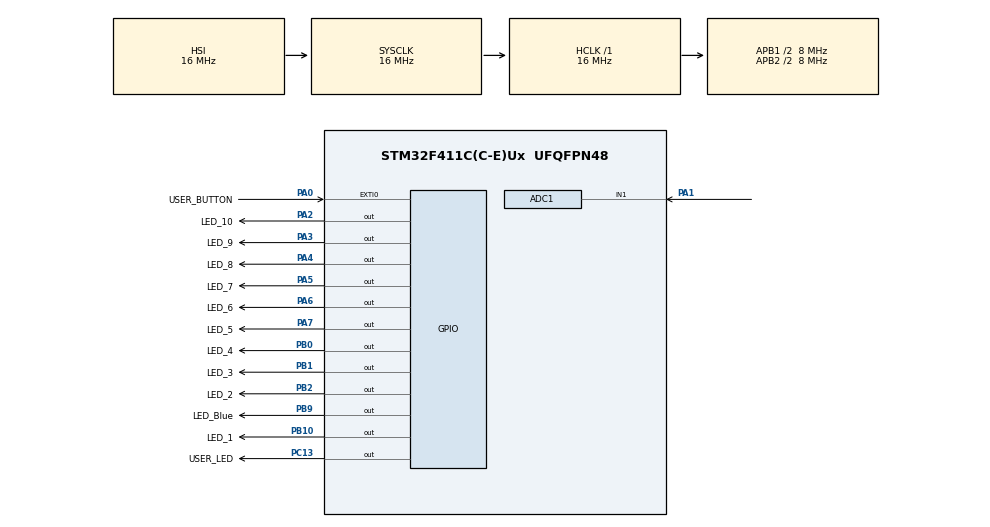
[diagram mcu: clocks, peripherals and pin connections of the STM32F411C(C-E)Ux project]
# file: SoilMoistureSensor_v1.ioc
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ADC1.Channel-1\#ChannelRegularConversion=ADC_CHANNEL_1
ADC1.ClockPrescaler=ADC_CLOCK_SYNC_PCLK_DIV8
ADC1.NbrOfConversion=1
ADC1.NbrOfConversionFlag=1
ADC1.Rank-1\#ChannelRegularConversion=1
ADC1.SamplingTime-1\#ChannelRegularConversion=ADC_SAMPLETIME_480CYCLES
ADC1.master=1
Mcu.Family=STM32F4
Mcu.Name=STM32F411C(C-E)Ux
Mcu.Package=UFQFPN48
NVIC.ADC_IRQn=true\:0\:0\:false\:true\:true\:2\:true\:true\:true
NVIC.EXTI0_IRQn=true\:0\:0\:false\:true\:true\:1\:true\:true\:true
NVIC.PriorityGroup=NVIC_PRIORITYGROUP_4
PA0-WKUP.GPIO_Label=USER_BUTTON
PA0-WKUP.Signal=GPXTI0
PA1.Signal=ADCx_IN1
PA2.GPIO_Label=LED_10
PA2.GPIO_PuPd=GPIO_PULLUP
PA2.PinState=GPIO_PIN_SET
PA2.Signal=GPIO_Output
PA3.GPIO_Label=LED_9
PA3.GPIO_PuPd=GPIO_PULLUP
PA3.PinState=GPIO_PIN_SET
PA3.Signal=GPIO_Output
PA4.GPIO_Label=LED_8
PA4.GPIO_PuPd=GPIO_PULLUP
PA4.PinState=GPIO_PIN_SET
PA4.Signal=GPIO_Output
PA5.GPIO_Label=LED_7
PA5.GPIO_PuPd=GPIO_PULLUP
PA5.PinState=GPIO_PIN_SET
PA5.Signal=GPIO_Output
PA6.GPIO_Label=LED_6
PA6.GPIO_PuPd=GPIO_PULLUP
PA6.PinState=GPIO_PIN_SET
PA6.Signal=GPIO_Output
PA7.GPIO_Label=LED_5
PA7.GPIO_PuPd=GPIO_PULLUP
PA7.PinState=GPIO_PIN_SET
PA7.Signal=GPIO_Output
PB0.GPIO_Label=LED_4
PB0.GPIO_PuPd=GPIO_PULLUP
PB0.PinState=GPIO_PIN_SET
PB0.Signal=GPIO_Output
PB1.GPIO_Label=LED_3
PB1.GPIO_PuPd=GPIO_PULLUP
PB1.PinState=GPIO_PIN_SET
PB1.Signal=GPIO_Output
PB10.GPIO_Label=LED_1
PB10.GPIO_PuPd=GPIO_PULLUP
PB10.PinState=GPIO_PIN_SET
PB10.Signal=GPIO_Output
PB2.GPIO_Label=LED_2
PB2.GPIO_PuPd=GPIO_PULLUP
PB2.PinState=GPIO_PIN_SET
PB2.Signal=GPIO_Output
PB9.GPIO_Label=LED_Blue
PB9.GPIO_PuPd=GPIO_PULLUP
PB9.Signal=GPIO_Output
PC13-ANTI_TAMP.GPIO_Label=USER_LED
PC13-ANTI_TAMP.Signal=GPIO_Output
ProjectManager.HeapSize=0x200
ProjectManager.StackSize=0x400
ProjectManager.TargetToolchain=STM32CubeIDE
RCC.48MHZClocksFreq_Value=40000000
RCC.AHBFreq_Value=16000000
RCC.APB1CLKDivider=RCC_HCLK_DIV2
RCC.APB1Freq_Value=8000000
RCC.APB1TimFreq_Value=16000000
RCC.APB2CLKDivider=RCC_HCLK_DIV2
RCC.APB2Freq_Value=8000000
RCC.APB2TimFreq_Value=16000000
RCC.CortexFreq_Value=16000000
RCC.HCLKFreq_Value=16000000
RCC.HSE_VALUE=25000000
RCC.HSI_VALUE=16000000
RCC.LSE_VALUE=32768
RCC.PLLM=8
RCC.PLLN=80
RCC.SYSCLKFreq_VALUE=16000000
RCC.VCOOutputFreq_Value=160000000
SH.ADCx_IN1.0=ADC1_IN1,IN1
board=custom

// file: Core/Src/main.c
/* USER CODE BEGIN Header */
/**
  ******************************************************************************
  * @file           : main.c
  * @brief          : Main program body
  ******************************************************************************
  * @attention
  *
  * Copyright (c) 2023 STMicroelectronics.
  * All rights reserved.
  *
  * This software is licensed under terms that can be found in the LICENSE file
  * in the root directory of this software component.
  * If no LICENSE file comes with this software, it is provided AS-IS.
  *
  ******************************************************************************
  */
/* USER CODE END Header */
#include "main.h"

ADC_HandleTypeDef hadc1;

/* USER CODE BEGIN PV */
uint16_t measured_adc_value;
const uint16_t air_adc_value = 3217;
const uint16_t water_adc_value = 1585;
uint8_t soil_moisture = 0;
uint16_t one_interval_width = 0;
uint8_t number_of_intervals = 11;
uint32_t printing_led_lvl_delay_ms = 100;
/* USER CODE END PV */

void SystemClock_Config(void);
static void MX_GPIO_Init(void);
static void MX_ADC1_Init(void);
static void MX_NVIC_Init(void);
/* USER CODE BEGIN PFP */
void LedInitAnimation(uint32_t delay);
/* USER CODE END PFP */

int main(void)
{

  /* MCU Configuration--------------------------------------------------------*/

  /* Reset of all peripherals, Initializes the Flash interface and the Systick. */
  HAL_Init();

  /* Configure the system clock */
  SystemClock_Config();

  /* Initialize all configured peripherals */
  MX_GPIO_Init();
  MX_ADC1_Init();

  /* Initialize interrupts */
  MX_NVIC_Init();
  /* USER CODE BEGIN 2 */
  uint16_t range_measurement = air_adc_value - water_adc_value;
  one_interval_width = range_measurement / number_of_intervals;

  /*	LED init animation */
  LedInitAnimation(100);
  /* USER CODE END 2 */

  /* Infinite loop */
  /* USER CODE BEGIN WHILE */
  while (1)
  {
	  /* ADC MEASUREMENT */
	  HAL_ADC_Start(&hadc1);

	  if(HAL_ADC_PollForConversion(&hadc1, 1000) == HAL_OK)
	  {
		  measured_adc_value = HAL_ADC_GetValue(&hadc1);
	  }

	  /* COUNTING SOIL MOISTURE */
	  for(uint8_t i = 1 ; i <= number_of_intervals ; i++)
	  {
			if(measured_adc_value  > (air_adc_value-(i*one_interval_width)))
			{
				soil_moisture = number_of_intervals-(number_of_intervals - i+1);
				break;
			}
	  }

	  /* CHECK SUPPLY VOLTAGE */
	  //TODO!

	  /* PRINT SOIL MOISTURE LVL */
	  if (soil_moisture >= 1)
	  {
		  HAL_GPIO_WritePin(LED_1_GPIO_Port, LED_1_Pin, GPIO_PIN_RESET);
		  HAL_Delay(printing_led_lvl_delay_ms);
	  }

	  if (soil_moisture >= 2)
	  {
		  HAL_GPIO_WritePin(LED_2_GPIO_Port, LED_2_Pin, GPIO_PIN_RESET);
		  HAL_Delay(printing_led_lvl_delay_ms);
	  }

	  if (soil_moisture >= 3)
	  {
		  HAL_GPIO_WritePin(LED_3_GPIO_Port, LED_3_Pin, GPIO_PIN_RESET);
		  HAL_Delay(printing_led_lvl_delay_ms);
	  }

	  if (soil_moisture >= 4)
	  {
		  HAL_GPIO_WritePin(LED_4_GPIO_Port, LED_4_Pin, GPIO_PIN_RESET);
		  HAL_Delay(printing_led_lvl_delay_ms);
	  }

	  if (soil_moisture >= 5)
	  {
		  HAL_GPIO_WritePin(LED_5_GPIO_Port, LED_5_Pin, GPIO_PIN_RESET);
		  HAL_Delay(printing_led_lvl_delay_ms);
	  }

	  if (soil_moisture >= 6)
	  {
		  HAL_GPIO_WritePin(LED_6_GPIO_Port, LED_6_Pin, GPIO_PIN_RESET);
		  HAL_Delay(printing_led_lvl_delay_ms);
	  }

	  if (soil_moisture >= 7)
	  {
		  HAL_GPIO_WritePin(LED_7_GPIO_Port, LED_7_Pin, GPIO_PIN_RESET);
		  HAL_Delay(printing_led_lvl_delay_ms);
	  }

	  if (soil_moisture >= 8)
	  {
		  HAL_GPIO_WritePin(LED_8_GPIO_Port, LED_8_Pin, GPIO_PIN_RESET);
		  HAL_Delay(printing_led_lvl_delay_ms);
	  }

	  if (soil_moisture >= 9)
	  {
		  HAL_GPIO_WritePin(LED_9_GPIO_Port, LED_9_Pin, GPIO_PIN_RESET);
		  HAL_Delay(printing_led_lvl_delay_ms);
	  }

	  if (soil_moisture >= 10)
	  {
		  HAL_GPIO_WritePin(LED_10_GPIO_Port, LED_10_Pin, GPIO_PIN_RESET);
		  HAL_Delay(printing_led_lvl_delay_ms);
	  }
	  HAL_Delay(printing_led_lvl_delay_ms);

	  if (soil_moisture < 10)
	  {
		  HAL_GPIO_WritePin(LED_10_GPIO_Port, LED_10_Pin, GPIO_PIN_SET);
		  HAL_Delay(printing_led_lvl_delay_ms);
	  }
	  if (soil_moisture < 9)
	  {
		  HAL_GPIO_WritePin(LED_9_GPIO_Port, LED_9_Pin, GPIO_PIN_SET);
		  HAL_Delay(printing_led_lvl_delay_ms);
	  }
	  if (soil_moisture < 8)
	  {
		  HAL_GPIO_WritePin(LED_8_GPIO_Port, LED_8_Pin, GPIO_PIN_SET);
		  HAL_Delay(printing_led_lvl_delay_ms);
	  }
	  if (soil_moisture < 7)
	  {
		  HAL_GPIO_WritePin(LED_7_GPIO_Port, LED_7_Pin, GPIO_PIN_SET);
		  HAL_Delay(printing_led_lvl_delay_ms);
	  }
	  if (soil_moisture < 6)
	  {
		  HAL_GPIO_WritePin(LED_6_GPIO_Port, LED_6_Pin, GPIO_PIN_SET);
		  HAL_Delay(printing_led_lvl_delay_ms);
	  }
	  if (soil_moisture < 5)
	  {
		  HAL_GPIO_WritePin(LED_5_GPIO_Port, LED_5_Pin, GPIO_PIN_SET);
		  HAL_Delay(printing_led_lvl_delay_ms);
	  }
	  if (soil_moisture < 4)
	  {
		  HAL_GPIO_WritePin(LED_4_GPIO_Port, LED_4_Pin, GPIO_PIN_SET);
		  HAL_Delay(printing_led_lvl_delay_ms);
	  }
	  if (soil_moisture < 3)
	  {
		  HAL_GPIO_WritePin(LED_3_GPIO_Port, LED_3_Pin, GPIO_PIN_SET);
		  HAL_Delay(printing_led_lvl_delay_ms);
	  }
	  if (soil_moisture < 2)
	  {
		  HAL_GPIO_WritePin(LED_2_GPIO_Port, LED_2_Pin, GPIO_PIN_SET);
		  HAL_Delay(printing_led_lvl_delay_ms);
	  }
	  if (soil_moisture < 1)
	  {
		  HAL_GPIO_WritePin(LED_1_GPIO_Port, LED_1_Pin, GPIO_PIN_SET);
		  HAL_Delay(printing_led_lvl_delay_ms);
	  }

	  HAL_GPIO_TogglePin(USER_LED_GPIO_Port, USER_LED_Pin);

    /* USER CODE END WHILE */

  }
}

void SystemClock_Config(void)
{
  RCC_OscInitTypeDef RCC_OscInitStruct = {0};
  RCC_ClkInitTypeDef RCC_ClkInitStruct = {0};

  /** Configure the main internal regulator output voltage
  */
  __HAL_RCC_PWR_CLK_ENABLE();
  __HAL_PWR_VOLTAGESCALING_CONFIG(PWR_REGULATOR_VOLTAGE_SCALE1);

  /** Initializes the RCC Oscillators according to the specified parameters
  * in the RCC_OscInitTypeDef structure.
  */
  RCC_OscInitStruct.OscillatorType = RCC_OSCILLATORTYPE_HSI;
  RCC_OscInitStruct.HSIState = RCC_HSI_ON;
  RCC_OscInitStruct.HSICalibrationValue = RCC_HSICALIBRATION_DEFAULT;
  RCC_OscInitStruct.PLL.PLLState = RCC_PLL_NONE;
  if (HAL_RCC_OscConfig(&RCC_OscInitStruct) != HAL_OK)
  {
    Error_Handler();
  }

  /** Initializes the CPU, AHB and APB buses clocks
  */
  RCC_ClkInitStruct.ClockType = RCC_CLOCKTYPE_HCLK|RCC_CLOCKTYPE_SYSCLK
                              |RCC_CLOCKTYPE_PCLK1|RCC_CLOCKTYPE_PCLK2;
  RCC_ClkInitStruct.SYSCLKSource = RCC_SYSCLKSOURCE_HSI;
  RCC_ClkInitStruct.AHBCLKDivider = RCC_SYSCLK_DIV1;
  RCC_ClkInitStruct.APB1CLKDivider = RCC_HCLK_DIV2;
  RCC_ClkInitStruct.APB2CLKDivider = RCC_HCLK_DIV2;

  if (HAL_RCC_ClockConfig(&RCC_ClkInitStruct, FLASH_LATENCY_0) != HAL_OK)
  {
    Error_Handler();
  }
}

/**
  * @brief NVIC Configuration.
  * @retval None
  */
static void MX_NVIC_Init(void)
{
  /* EXTI0_IRQn interrupt configuration */
  HAL_NVIC_SetPriority(EXTI0_IRQn, 0, 0);
  HAL_NVIC_EnableIRQ(EXTI0_IRQn);
  /* ADC_IRQn interrupt configuration */
  HAL_NVIC_SetPriority(ADC_IRQn, 0, 0);
  HAL_NVIC_EnableIRQ(ADC_IRQn);
}

static void MX_ADC1_Init(void)
{

  ADC_ChannelConfTypeDef sConfig = {0};

  /** Configure the global features of the ADC (Clock, Resolution, Data Alignment and number of conversion)
  */
  hadc1.Instance = ADC1;
  hadc1.Init.ClockPrescaler = ADC_CLOCK_SYNC_PCLK_DIV8;
  hadc1.Init.Resolution = ADC_RESOLUTION_12B;
  hadc1.Init.ScanConvMode = DISABLE;
  hadc1.Init.ContinuousConvMode = DISABLE;
  hadc1.Init.DiscontinuousConvMode = DISABLE;
  hadc1.Init.ExternalTrigConvEdge = ADC_EXTERNALTRIGCONVEDGE_NONE;
  hadc1.Init.ExternalTrigConv = ADC_SOFTWARE_START;
  hadc1.Init.DataAlign = ADC_DATAALIGN_RIGHT;
  hadc1.Init.NbrOfConversion = 1;
  hadc1.Init.DMAContinuousRequests = DISABLE;
  hadc1.Init.EOCSelection = ADC_EOC_SINGLE_CONV;
  if (HAL_ADC_Init(&hadc1) != HAL_OK)
  {
    Error_Handler();
  }

  /** Configure for the selected ADC regular channel its corresponding rank in the sequencer and its sample time.
  */
  sConfig.Channel = ADC_CHANNEL_1;
  sConfig.Rank = 1;
  sConfig.SamplingTime = ADC_SAMPLETIME_480CYCLES;
  if (HAL_ADC_ConfigChannel(&hadc1, &sConfig) != HAL_OK)
  {
    Error_Handler();
  }

}

static void MX_GPIO_Init(void)
{
  GPIO_InitTypeDef GPIO_InitStruct = {0};

  /* GPIO Ports Clock Enable */
  __HAL_RCC_GPIOC_CLK_ENABLE();
  __HAL_RCC_GPIOA_CLK_ENABLE();
  __HAL_RCC_GPIOB_CLK_ENABLE();

  /*Configure GPIO pin Output Level */
  HAL_GPIO_WritePin(USER_LED_GPIO_Port, USER_LED_Pin, GPIO_PIN_RESET);

  /*Configure GPIO pin Output Level */
  HAL_GPIO_WritePin(GPIOA, LED_10_Pin|LED_9_Pin|LED_8_Pin|LED_7_Pin
                          |LED_6_Pin|LED_5_Pin, GPIO_PIN_SET);

  /*Configure GPIO pin Output Level */
  HAL_GPIO_WritePin(GPIOB, LED_4_Pin|LED_3_Pin|LED_2_Pin|LED_1_Pin, GPIO_PIN_SET);

  /*Configure GPIO pin Output Level */
  HAL_GPIO_WritePin(LED_Blue_GPIO_Port, LED_Blue_Pin, GPIO_PIN_RESET);

  /*Configure GPIO pin : USER_LED_Pin */
  GPIO_InitStruct.Pin = USER_LED_Pin;
  GPIO_InitStruct.Mode = GPIO_MODE_OUTPUT_PP;
  GPIO_InitStruct.Pull = GPIO_NOPULL;
  GPIO_InitStruct.Speed = GPIO_SPEED_FREQ_LOW;
  HAL_GPIO_Init(USER_LED_GPIO_Port, &GPIO_InitStruct);

  /*Configure GPIO pin : USER_BUTTON_Pin */
  GPIO_InitStruct.Pin = USER_BUTTON_Pin;
  GPIO_InitStruct.Mode = GPIO_MODE_IT_RISING;
  GPIO_InitStruct.Pull = GPIO_NOPULL;
  HAL_GPIO_Init(USER_BUTTON_GPIO_Port, &GPIO_InitStruct);

  /*Configure GPIO pins : LED_10_Pin LED_9_Pin LED_8_Pin LED_7_Pin
                           LED_6_Pin LED_5_Pin */
  GPIO_InitStruct.Pin = LED_10_Pin|LED_9_Pin|LED_8_Pin|LED_7_Pin
                          |LED_6_Pin|LED_5_Pin;
  GPIO_InitStruct.Mode = GPIO_MODE_OUTPUT_PP;
  GPIO_InitStruct.Pull = GPIO_PULLUP;
  GPIO_InitStruct.Speed = GPIO_SPEED_FREQ_LOW;
  HAL_GPIO_Init(GPIOA, &GPIO_InitStruct);

  /*Configure GPIO pins : LED_4_Pin LED_3_Pin LED_2_Pin LED_1_Pin
                           LED_Blue_Pin */
  GPIO_InitStruct.Pin = LED_4_Pin|LED_3_Pin|LED_2_Pin|LED_1_Pin
                          |LED_Blue_Pin;
  GPIO_InitStruct.Mode = GPIO_MODE_OUTPUT_PP;
  GPIO_InitStruct.Pull = GPIO_PULLUP;
  GPIO_InitStruct.Speed = GPIO_SPEED_FREQ_LOW;
  HAL_GPIO_Init(GPIOB, &GPIO_InitStruct);

}

/* USER CODE BEGIN 4 */

void LedInitAnimation(uint32_t delay)
{
	  HAL_GPIO_WritePin(LED_1_GPIO_Port, LED_1_Pin, GPIO_PIN_RESET);
	  HAL_Delay(delay);
	  HAL_GPIO_WritePin(LED_2_GPIO_Port, LED_2_Pin, GPIO_PIN_RESET);
	  HAL_Delay(delay);
	  HAL_GPIO_WritePin(LED_3_GPIO_Port, LED_3_Pin, GPIO_PIN_RESET);
	  HAL_Delay(delay);
	  HAL_GPIO_WritePin(LED_4_GPIO_Port, LED_4_Pin, GPIO_PIN_RESET);
	  HAL_Delay(delay);
	  HAL_GPIO_WritePin(LED_5_GPIO_Port, LED_5_Pin, GPIO_PIN_RESET);
	  HAL_Delay(delay);
	  HAL_GPIO_WritePin(LED_6_GPIO_Port, LED_6_Pin, GPIO_PIN_RESET);
	  HAL_Delay(delay);
	  HAL_GPIO_WritePin(LED_7_GPIO_Port, LED_7_Pin, GPIO_PIN_RESET);
	  HAL_Delay(delay);
	  HAL_GPIO_WritePin(LED_8_GPIO_Port, LED_8_Pin, GPIO_PIN_RESET);
	  HAL_Delay(delay);
	  HAL_GPIO_WritePin(LED_9_GPIO_Port, LED_9_Pin, GPIO_PIN_RESET);
	  HAL_Delay(delay);
	  HAL_GPIO_WritePin(LED_10_GPIO_Port, LED_10_Pin, GPIO_PIN_RESET);
	  HAL_Delay(2*delay);

	  HAL_GPIO_WritePin(LED_10_GPIO_Port, LED_10_Pin, GPIO_PIN_SET);
	  HAL_Delay(delay);
	  HAL_GPIO_WritePin(LED_9_GPIO_Port, LED_9_Pin, GPIO_PIN_SET);
	  HAL_Delay(delay);
	  HAL_GPIO_WritePin(LED_8_GPIO_Port, LED_8_Pin, GPIO_PIN_SET);
	  HAL_Delay(delay);
	  HAL_GPIO_WritePin(LED_7_GPIO_Port, LED_7_Pin, GPIO_PIN_SET);
	  HAL_Delay(delay);
	  HAL_GPIO_WritePin(LED_6_GPIO_Port, LED_6_Pin, GPIO_PIN_SET);
	  HAL_Delay(delay);
	  HAL_GPIO_WritePin(LED_5_GPIO_Port, LED_5_Pin, GPIO_PIN_SET);
	  HAL_Delay(delay);
	  HAL_GPIO_WritePin(LED_4_GPIO_Port, LED_4_Pin, GPIO_PIN_SET);
	  HAL_Delay(delay);
	  HAL_GPIO_WritePin(LED_3_GPIO_Port, LED_3_Pin, GPIO_PIN_SET);
	  HAL_Delay(delay);
	  HAL_GPIO_WritePin(LED_2_GPIO_Port, LED_2_Pin, GPIO_PIN_SET);
	  HAL_Delay(delay);
	  HAL_GPIO_WritePin(LED_1_GPIO_Port, LED_1_Pin, GPIO_PIN_SET);
	  HAL_Delay(2*delay);
}
/* USER CODE END 4 */

void Error_Handler(void)
{
  __disable_irq();
  while (1)
  {
  }
}
